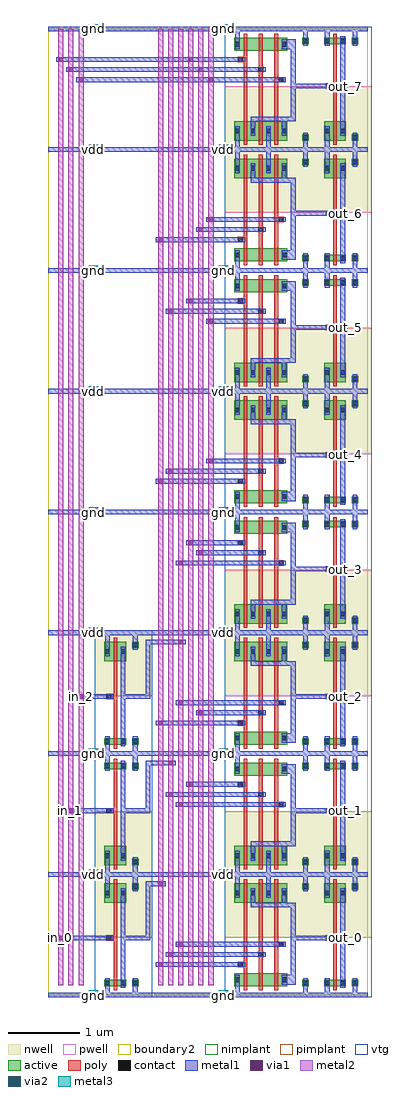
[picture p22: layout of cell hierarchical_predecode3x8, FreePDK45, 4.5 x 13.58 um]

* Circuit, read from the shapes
.subckt hierarchical_predecode3x8 gnd in_0 in_1 in_2 out_0 out_1 out_2 out_3 out_4 out_5 out_6 out_7 vdd
M1 and3_dec_3/A in_0 gnd gnd nfet w=0.09u l=0.05u
M2 and3_dec_3/B in_1 gnd gnd nfet w=0.09u l=0.05u
M3 and3_dec_3/C in_2 gnd gnd nfet w=0.09u l=0.05u
M4 and3_dec_3/pnand3_0/nmos_m1_w0_180_sm1_dactive_3/D and3_dec_3/A gnd gnd nfet w=0.18u l=0.05u
M5 and3_dec_4/pnand3_0/nmos_m1_w0_180_sm1_dactive_3/D in_0 gnd gnd nfet w=0.18u l=0.05u
M6 and3_dec_5/pnand3_0/nmos_m1_w0_180_sm1_dactive_3/D and3_dec_3/A gnd gnd nfet w=0.18u l=0.05u
M7 and3_dec_6/pnand3_0/nmos_m1_w0_180_sm1_dactive_3/D in_0 gnd gnd nfet w=0.18u l=0.05u
M8 and3_dec_7/pnand3_0/nmos_m1_w0_180_sm1_dactive_3/D and3_dec_3/A gnd gnd nfet w=0.18u l=0.05u
M9 and3_dec_8/pnand3_0/nmos_m1_w0_180_sm1_dactive_3/D in_0 gnd gnd nfet w=0.18u l=0.05u
M10 and3_dec_9/pnand3_0/nmos_m1_w0_180_sm1_dactive_3/D and3_dec_3/A gnd gnd nfet w=0.18u l=0.05u
M11 and3_dec_10/pnand3_0/nmos_m1_w0_180_sm1_dactive_3/D in_0 gnd gnd nfet w=0.18u l=0.05u
M12 and3_dec_3/pnand3_0/nmos_m1_w0_180_sactive_dactive_4/D and3_dec_3/B and3_dec_3/pnand3_0/nmos_m1_w0_180_sm1_dactive_3/D gnd nfet w=0.18u l=0.05u
M13 and3_dec_4/pnand3_0/nmos_m1_w0_180_sactive_dactive_4/D and3_dec_3/B and3_dec_4/pnand3_0/nmos_m1_w0_180_sm1_dactive_3/D gnd nfet w=0.18u l=0.05u
M14 and3_dec_5/pnand3_0/nmos_m1_w0_180_sactive_dactive_4/D in_1 and3_dec_5/pnand3_0/nmos_m1_w0_180_sm1_dactive_3/D gnd nfet w=0.18u l=0.05u
M15 and3_dec_6/pnand3_0/nmos_m1_w0_180_sactive_dactive_4/D in_1 and3_dec_6/pnand3_0/nmos_m1_w0_180_sm1_dactive_3/D gnd nfet w=0.18u l=0.05u
M16 and3_dec_7/pnand3_0/nmos_m1_w0_180_sactive_dactive_4/D and3_dec_3/B and3_dec_7/pnand3_0/nmos_m1_w0_180_sm1_dactive_3/D gnd nfet w=0.18u l=0.05u
M17 and3_dec_8/pnand3_0/nmos_m1_w0_180_sactive_dactive_4/D and3_dec_3/B and3_dec_8/pnand3_0/nmos_m1_w0_180_sm1_dactive_3/D gnd nfet w=0.18u l=0.05u
M18 and3_dec_9/pnand3_0/nmos_m1_w0_180_sactive_dactive_4/D in_1 and3_dec_9/pnand3_0/nmos_m1_w0_180_sm1_dactive_3/D gnd nfet w=0.18u l=0.05u
M19 and3_dec_10/pnand3_0/nmos_m1_w0_180_sactive_dactive_4/D in_1 and3_dec_10/pnand3_0/nmos_m1_w0_180_sm1_dactive_3/D gnd nfet w=0.18u l=0.05u
M20 and3_dec_3/pinv_1/A and3_dec_3/C and3_dec_3/pnand3_0/nmos_m1_w0_180_sactive_dactive_4/D gnd nfet w=0.18u l=0.05u
M21 and3_dec_4/pinv_1/A and3_dec_3/C and3_dec_4/pnand3_0/nmos_m1_w0_180_sactive_dactive_4/D gnd nfet w=0.18u l=0.05u
M22 and3_dec_5/pinv_1/A and3_dec_3/C and3_dec_5/pnand3_0/nmos_m1_w0_180_sactive_dactive_4/D gnd nfet w=0.18u l=0.05u
M23 and3_dec_6/pinv_1/A and3_dec_3/C and3_dec_6/pnand3_0/nmos_m1_w0_180_sactive_dactive_4/D gnd nfet w=0.18u l=0.05u
M24 and3_dec_7/pinv_1/A in_2 and3_dec_7/pnand3_0/nmos_m1_w0_180_sactive_dactive_4/D gnd nfet w=0.18u l=0.05u
M25 and3_dec_8/pinv_1/A in_2 and3_dec_8/pnand3_0/nmos_m1_w0_180_sactive_dactive_4/D gnd nfet w=0.18u l=0.05u
M26 and3_dec_9/pinv_1/A in_2 and3_dec_9/pnand3_0/nmos_m1_w0_180_sactive_dactive_4/D gnd nfet w=0.18u l=0.05u
M27 and3_dec_10/pinv_1/A in_2 and3_dec_10/pnand3_0/nmos_m1_w0_180_sactive_dactive_4/D gnd nfet w=0.18u l=0.05u
M28 out_0 and3_dec_3/pinv_1/A gnd gnd nfet w=0.09u l=0.05u
M29 out_1 and3_dec_4/pinv_1/A gnd gnd nfet w=0.09u l=0.05u
M30 out_2 and3_dec_5/pinv_1/A gnd gnd nfet w=0.09u l=0.05u
M31 out_3 and3_dec_6/pinv_1/A gnd gnd nfet w=0.09u l=0.05u
M32 out_4 and3_dec_7/pinv_1/A gnd gnd nfet w=0.09u l=0.05u
M33 out_5 and3_dec_8/pinv_1/A gnd gnd nfet w=0.09u l=0.05u
M34 out_6 and3_dec_9/pinv_1/A gnd gnd nfet w=0.09u l=0.05u
M35 out_7 and3_dec_10/pinv_1/A gnd gnd nfet w=0.09u l=0.05u
M36 and3_dec_3/A in_0 vdd vdd pfet w=0.27u l=0.05u
M37 and3_dec_3/B in_1 vdd vdd pfet w=0.27u l=0.05u
M38 and3_dec_3/C in_2 vdd vdd pfet w=0.27u l=0.05u
M39 and3_dec_3/pinv_1/A and3_dec_3/A vdd vdd pfet w=0.27u l=0.05u
M40 and3_dec_4/pinv_1/A in_0 vdd vdd pfet w=0.27u l=0.05u
M41 and3_dec_5/pinv_1/A and3_dec_3/A vdd vdd pfet w=0.27u l=0.05u
M42 and3_dec_6/pinv_1/A in_0 vdd vdd pfet w=0.27u l=0.05u
M43 and3_dec_7/pinv_1/A and3_dec_3/A vdd vdd pfet w=0.27u l=0.05u
M44 and3_dec_8/pinv_1/A in_0 vdd vdd pfet w=0.27u l=0.05u
M45 and3_dec_9/pinv_1/A and3_dec_3/A vdd vdd pfet w=0.27u l=0.05u
M46 and3_dec_10/pinv_1/A in_0 vdd vdd pfet w=0.27u l=0.05u
M47 vdd and3_dec_3/B and3_dec_3/pinv_1/A vdd pfet w=0.27u l=0.05u
M48 vdd and3_dec_3/B and3_dec_4/pinv_1/A vdd pfet w=0.27u l=0.05u
M49 vdd in_1 and3_dec_5/pinv_1/A vdd pfet w=0.27u l=0.05u
M50 vdd in_1 and3_dec_6/pinv_1/A vdd pfet w=0.27u l=0.05u
M51 vdd and3_dec_3/B and3_dec_7/pinv_1/A vdd pfet w=0.27u l=0.05u
M52 vdd and3_dec_3/B and3_dec_8/pinv_1/A vdd pfet w=0.27u l=0.05u
M53 vdd in_1 and3_dec_9/pinv_1/A vdd pfet w=0.27u l=0.05u
M54 vdd in_1 and3_dec_10/pinv_1/A vdd pfet w=0.27u l=0.05u
M55 and3_dec_3/pinv_1/A and3_dec_3/C vdd vdd pfet w=0.27u l=0.05u
M56 and3_dec_4/pinv_1/A and3_dec_3/C vdd vdd pfet w=0.27u l=0.05u
M57 and3_dec_5/pinv_1/A and3_dec_3/C vdd vdd pfet w=0.27u l=0.05u
M58 and3_dec_6/pinv_1/A and3_dec_3/C vdd vdd pfet w=0.27u l=0.05u
M59 and3_dec_7/pinv_1/A in_2 vdd vdd pfet w=0.27u l=0.05u
M60 and3_dec_8/pinv_1/A in_2 vdd vdd pfet w=0.27u l=0.05u
M61 and3_dec_9/pinv_1/A in_2 vdd vdd pfet w=0.27u l=0.05u
M62 and3_dec_10/pinv_1/A in_2 vdd vdd pfet w=0.27u l=0.05u
M63 out_0 and3_dec_3/pinv_1/A vdd vdd pfet w=0.27u l=0.05u
M64 out_1 and3_dec_4/pinv_1/A vdd vdd pfet w=0.27u l=0.05u
M65 out_2 and3_dec_5/pinv_1/A vdd vdd pfet w=0.27u l=0.05u
M66 out_3 and3_dec_6/pinv_1/A vdd vdd pfet w=0.27u l=0.05u
M67 out_4 and3_dec_7/pinv_1/A vdd vdd pfet w=0.27u l=0.05u
M68 out_5 and3_dec_8/pinv_1/A vdd vdd pfet w=0.27u l=0.05u
M69 out_6 and3_dec_9/pinv_1/A vdd vdd pfet w=0.27u l=0.05u
M70 out_7 and3_dec_10/pinv_1/A vdd vdd pfet w=0.27u l=0.05u
.ends

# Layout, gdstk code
import gdstk
lib = gdstk.Library(unit=1e-6, precision=5e-10)
def R(c, l, rs):  # rectangles x0, y0, x1, y1
    for r in rs: c.add(gdstk.rectangle(r[:2], r[2:], *l))
def A(c, l, x, y, w, h, nx, ny, dx, dy):  # array of equal rectangles
    R(c, l, [(x+i*dx, y+j*dy, x+i*dx+w, y+j*dy+h) for i in range(nx) for j in range(ny)])
active = (1, 0)
pwell = (2, 0)
nwell = (3, 0)
nimplant = (4, 0)
pimplant = (5, 0)
vtg = (6, 0)
poly = (9, 0)
contact = (10, 0)
metal1 = (11, 0)
via1 = (12, 0)
metal2 = (13, 0)
via2 = (14, 0)
metal3 = (15, 0)
boundary2 = (239, 0)

contact_10 = lib.new_cell('contact_10')
R(contact_10, active, [(0,0.0225,0.09,0.1125)])
R(contact_10, nwell, [(-0.055,-0.0325,0.145,0.1675)])
R(contact_10, pimplant, [(0,0.0225,0.09,0.1125)])
R(contact_10, contact, [(0.0125,0.035,0.0775,0.1)])
R(contact_10, metal1, [(0.0125,0,0.0775,0.135)])
R(contact_10, boundary2, [(-0.055,-0.0325,0.145,0.1675)])

pmos_m1_w0_270_sm1_dm1_d = lib.new_cell('pmos_m1_w0_270_sm1_dm1_da_p')
R(pmos_m1_w0_270_sm1_dm1_d, active, [(0,0,0.305,0.27)])
R(pmos_m1_w0_270_sm1_dm1_d, nwell, [(-0.08,-0.08,0.385,0.35)])
R(pmos_m1_w0_270_sm1_dm1_d, pimplant, [(0,0,0.305,0.27)])
R(pmos_m1_w0_270_sm1_dm1_d, vtg, [(-0.08,-0.08,0.385,0.35)])
R(pmos_m1_w0_270_sm1_dm1_d, poly, [(0.1275,-0.055,0.1775,0.325), (0.1275,-0.055,0.1775,0.325)])
R(pmos_m1_w0_270_sm1_dm1_d, metal1, [(0.0125,0.0675,0.0775,0.2025), (0.2275,0.0675,0.2925,0.2025)])
R(pmos_m1_w0_270_sm1_dm1_d, boundary2, [(-0.08,-0.08,0.385,0.35)])
pmos_m1_w0_270_sm1_dm1_d.add(gdstk.Reference(contact_10, (0,0.0675)))
pmos_m1_w0_270_sm1_dm1_d.add(gdstk.Reference(contact_10, (0.215,0.0675)))
pmos_m1_w0_270_sm1_dm1_d.add(gdstk.Label('G', (0.1525,0.135), layer=9, texttype=0))
pmos_m1_w0_270_sm1_dm1_d.add(gdstk.Label('S', (0.045,0.135), layer=11, texttype=0))
pmos_m1_w0_270_sm1_dm1_d.add(gdstk.Label('D', (0.26,0.135), layer=11, texttype=0))

contact_9 = lib.new_cell('contact_9')
R(contact_9, active, [(0,0.0225,0.09,0.1125)])
R(contact_9, pwell, [(-0.055,-0.0325,0.145,0.1675)])
R(contact_9, nimplant, [(0,0.0225,0.09,0.1125)])
R(contact_9, contact, [(0.0125,0.035,0.0775,0.1)])
R(contact_9, metal1, [(0.0125,0,0.0775,0.135)])
R(contact_9, boundary2, [(-0.055,-0.0325,0.145,0.1675)])

nmos_m1_w0_090_sm1_dm1_d = lib.new_cell('nmos_m1_w0_090_sm1_dm1_da_p')
R(nmos_m1_w0_090_sm1_dm1_d, active, [(0,0,0.305,0.09)])
R(nmos_m1_w0_090_sm1_dm1_d, pwell, [(-0.08,-0.08,0.385,0.17)])
R(nmos_m1_w0_090_sm1_dm1_d, nimplant, [(0,0,0.305,0.09)])
R(nmos_m1_w0_090_sm1_dm1_d, vtg, [(-0.08,-0.08,0.385,0.17)])
R(nmos_m1_w0_090_sm1_dm1_d, poly, [(0.1275,-0.055,0.1775,0.145), (0.1275,-0.055,0.1775,0.145)])
R(nmos_m1_w0_090_sm1_dm1_d, metal1, [(0.0125,-0.0225,0.0775,0.1125), (0.2275,-0.0225,0.2925,0.1125)])
R(nmos_m1_w0_090_sm1_dm1_d, boundary2, [(-0.08,-0.08,0.385,0.17)])
nmos_m1_w0_090_sm1_dm1_d.add(gdstk.Reference(contact_9, (0,-0.0225)))
nmos_m1_w0_090_sm1_dm1_d.add(gdstk.Reference(contact_9, (0.215,-0.0225)))
nmos_m1_w0_090_sm1_dm1_d.add(gdstk.Label('G', (0.1525,0.045), layer=9, texttype=0))
nmos_m1_w0_090_sm1_dm1_d.add(gdstk.Label('S', (0.045,0.045), layer=11, texttype=0))
nmos_m1_w0_090_sm1_dm1_d.add(gdstk.Label('D', (0.26,0.045), layer=11, texttype=0))

contact_11 = lib.new_cell('contact_11')
R(contact_11, active, [(0,0.0225,0.09,0.1125)])
R(contact_11, nwell, [(-0.055,-0.0325,0.145,0.1675)])
R(contact_11, nimplant, [(0,0.0225,0.09,0.1125)])
R(contact_11, contact, [(0.0125,0.035,0.0775,0.1)])
R(contact_11, metal1, [(0.0125,0,0.0775,0.135)])
R(contact_11, boundary2, [(-0.055,-0.0325,0.145,0.1675)])

contact_12 = lib.new_cell('contact_12')
R(contact_12, active, [(0,0.0225,0.09,0.1125)])
R(contact_12, pwell, [(-0.055,-0.0325,0.145,0.1675)])
R(contact_12, pimplant, [(0,0.0225,0.09,0.1125)])
R(contact_12, contact, [(0.0125,0.035,0.0775,0.1)])
R(contact_12, metal1, [(0.0125,0,0.0775,0.135)])
R(contact_12, boundary2, [(-0.055,-0.0325,0.145,0.1675)])

contact_13 = lib.new_cell('contact_13')
R(contact_13, poly, [(0.03,0,0.105,0.075)])
R(contact_13, contact, [(0.035,0.005,0.1,0.07)])
R(contact_13, metal1, [(0,0.005,0.135,0.07)])
R(contact_13, boundary2, [(0,0,0.135,0.075)])

pinv = lib.new_cell('pinv')
R(pinv, pwell, [(-0.055,-0.0325,0.7425,0.8075)])
R(pinv, nwell, [(-0.055,0.8075,0.7425,1.715)])
R(pinv, vtg, [(-0.055,-0.0325,0.7425,0.8075), (-0.055,0.8075,0.7425,1.715)])
R(pinv, poly, [(0.2075,0.27,0.2575,1.23), (0.14,0.7575,0.2075,0.8325)])
R(pinv, metal1, [(0,-0.0325,0.6875,0.0325), (0.0925,-0.0325,0.1575,0.1025), (0.4775,0,0.5425,0.17), (0.3075,0.1025,0.3725,1.4875), (0.0725,0.7625,0.2075,0.8275), (0.34,0.7625,0.405,0.8275), (0.0925,1.3525,0.1575,1.7125), (0.4775,1.51,0.5425,1.68), (0,1.6475,0.6875,1.7125)])
R(pinv, boundary2, [(0,0,0.6875,1.68), (0,0,0.6875,1.68)])
pinv.add(gdstk.Reference(pmos_m1_w0_270_sm1_dm1_d, (0.08,1.285)))
pinv.add(gdstk.Reference(nmos_m1_w0_090_sm1_dm1_d, (0.08,0.125)))
pinv.add(gdstk.Reference(contact_11, (0.465,1.4425)))
pinv.add(gdstk.Reference(contact_12, (0.465,0.1025)))
pinv.add(gdstk.Reference(contact_13, (0.0725,0.7575)))
pinv.add(gdstk.Label('A', (0.14,0.795), layer=11, texttype=0))
pinv.add(gdstk.Label('Z', (0.3725,0.795), layer=11, texttype=0))
pinv.add(gdstk.Label('gnd', (0.344,0), layer=11, texttype=0))
pinv.add(gdstk.Label('vdd', (0.344,1.68), layer=11, texttype=0))

pmos_m1_w0_270_sm1_dm1 = lib.new_cell('pmos_m1_w0_270_sm1_dm1')
R(pmos_m1_w0_270_sm1_dm1, active, [(0,0,0.305,0.27)])
R(pmos_m1_w0_270_sm1_dm1, nwell, [(-0.08,-0.08,0.385,0.35)])
R(pmos_m1_w0_270_sm1_dm1, pimplant, [(0,0,0.305,0.27)])
R(pmos_m1_w0_270_sm1_dm1, vtg, [(-0.08,-0.08,0.385,0.35)])
R(pmos_m1_w0_270_sm1_dm1, poly, [(0.1275,-0.055,0.1775,0.325), (0.1275,-0.055,0.1775,0.325)])
R(pmos_m1_w0_270_sm1_dm1, metal1, [(0.0125,0.0675,0.0775,0.2025), (0.2275,0.0675,0.2925,0.2025)])
R(pmos_m1_w0_270_sm1_dm1, boundary2, [(-0.08,-0.08,0.385,0.35)])
pmos_m1_w0_270_sm1_dm1.add(gdstk.Reference(contact_10, (0,0.0675)))
pmos_m1_w0_270_sm1_dm1.add(gdstk.Reference(contact_10, (0.215,0.0675)))
pmos_m1_w0_270_sm1_dm1.add(gdstk.Label('G', (0.1525,0.135), layer=9, texttype=0))
pmos_m1_w0_270_sm1_dm1.add(gdstk.Label('S', (0.045,0.135), layer=11, texttype=0))
pmos_m1_w0_270_sm1_dm1.add(gdstk.Label('D', (0.26,0.135), layer=11, texttype=0))

nmos_m1_w0_180_sm1_dacti = lib.new_cell('nmos_m1_w0_180_sm1_dactive')
R(nmos_m1_w0_180_sm1_dacti, active, [(0,0,0.305,0.18), (0.215,0.045,0.305,0.135)])
R(nmos_m1_w0_180_sm1_dacti, pwell, [(-0.08,-0.08,0.385,0.26)])
R(nmos_m1_w0_180_sm1_dacti, nimplant, [(0,0,0.305,0.18)])
R(nmos_m1_w0_180_sm1_dacti, vtg, [(-0.08,-0.08,0.385,0.26)])
R(nmos_m1_w0_180_sm1_dacti, poly, [(0.1275,-0.055,0.1775,0.235), (0.1275,-0.055,0.1775,0.235)])
R(nmos_m1_w0_180_sm1_dacti, metal1, [(0.0125,0.0225,0.0775,0.1575)])
R(nmos_m1_w0_180_sm1_dacti, boundary2, [(-0.08,-0.08,0.385,0.26)])
nmos_m1_w0_180_sm1_dacti.add(gdstk.Reference(contact_9, (0,0.0225)))
nmos_m1_w0_180_sm1_dacti.add(gdstk.Label('G', (0.1525,0.09), layer=9, texttype=0))
nmos_m1_w0_180_sm1_dacti.add(gdstk.Label('S', (0.045,0.09), layer=11, texttype=0))
nmos_m1_w0_180_sm1_dacti.add(gdstk.Label('D', (0.26,0.09), layer=1, texttype=0))

nmos_m1_w0_180_sactive_d = lib.new_cell('nmos_m1_w0_180_sactive_dactive')
R(nmos_m1_w0_180_sactive_d, active, [(0,0,0.305,0.18), (0,0.045,0.09,0.135), (0.215,0.045,0.305,0.135)])
R(nmos_m1_w0_180_sactive_d, pwell, [(-0.08,-0.08,0.385,0.26)])
R(nmos_m1_w0_180_sactive_d, nimplant, [(0,0,0.305,0.18)])
R(nmos_m1_w0_180_sactive_d, vtg, [(-0.08,-0.08,0.385,0.26)])
R(nmos_m1_w0_180_sactive_d, poly, [(0.1275,-0.055,0.1775,0.235), (0.1275,-0.055,0.1775,0.235)])
R(nmos_m1_w0_180_sactive_d, boundary2, [(-0.08,-0.08,0.385,0.26)])
nmos_m1_w0_180_sactive_d.add(gdstk.Label('G', (0.1525,0.09), layer=9, texttype=0))
nmos_m1_w0_180_sactive_d.add(gdstk.Label('S', (0.045,0.09), layer=1, texttype=0))
nmos_m1_w0_180_sactive_d.add(gdstk.Label('D', (0.26,0.09), layer=1, texttype=0))

c_nmos_m1_w0_180_sactive_d = lib.new_cell('nmos_m1_w0_180_sactive_dm1')
R(c_nmos_m1_w0_180_sactive_d, active, [(0,0,0.305,0.18), (0,0.045,0.09,0.135)])
R(c_nmos_m1_w0_180_sactive_d, pwell, [(-0.08,-0.08,0.385,0.26)])
R(c_nmos_m1_w0_180_sactive_d, nimplant, [(0,0,0.305,0.18)])
R(c_nmos_m1_w0_180_sactive_d, vtg, [(-0.08,-0.08,0.385,0.26)])
R(c_nmos_m1_w0_180_sactive_d, poly, [(0.1275,-0.055,0.1775,0.235), (0.1275,-0.055,0.1775,0.235)])
R(c_nmos_m1_w0_180_sactive_d, metal1, [(0.2275,0.0225,0.2925,0.1575)])
R(c_nmos_m1_w0_180_sactive_d, boundary2, [(-0.08,-0.08,0.385,0.26)])
c_nmos_m1_w0_180_sactive_d.add(gdstk.Reference(contact_9, (0.215,0.0225)))
c_nmos_m1_w0_180_sactive_d.add(gdstk.Label('G', (0.1525,0.09), layer=9, texttype=0))
c_nmos_m1_w0_180_sactive_d.add(gdstk.Label('S', (0.045,0.09), layer=1, texttype=0))
c_nmos_m1_w0_180_sactive_d.add(gdstk.Label('D', (0.26,0.09), layer=11, texttype=0))

pnand3 = lib.new_cell('pnand3')
R(pnand3, pwell, [(-0.055,-0.0325,1.3025,0.8075)])
R(pnand3, nwell, [(-0.055,0.8075,1.3025,1.715)])
R(pnand3, vtg, [(-0.055,-0.0325,1.3025,0.8075), (-0.055,0.8075,1.3025,1.715)])
A(pnand3, poly, 0.2075, 0.36, 0.05, 0.87, 3, 1, 0.215, 0)
R(pnand3, poly, [(0.165,0.39,0.2075,0.465), (0.4225,0.53,0.4475,0.605), (0.6375,0.67,0.73,0.745)])
R(pnand3, metal1, [(0,-0.0325,1.2475,0.0325), (0.0925,-0.0325,0.1575,0.1475), (1.0375,0,1.1025,0.17), (0.77,0.1475,0.9,0.2825), (0.8675,0.1475,0.9325,1.255), (0.0975,0.395,0.2325,0.46), (0.38,0.535,0.515,0.6), (0.6625,0.675,0.7975,0.74), (0.3075,1.2225,0.3725,1.2875), (0.34,1.2225,0.9,1.2875), (0.7375,1.2225,0.8025,1.2875), (0.77,1.2225,0.9,1.2875), (0.8675,1.2225,0.9325,1.2875), (0.3075,1.255,0.3725,1.42), (0.7375,1.255,0.8025,1.42), (0.0925,1.3525,0.1575,1.7125), (0.5225,1.3525,0.5875,1.7125), (1.0375,1.51,1.1025,1.68), (0,1.6475,1.2475,1.7125)])
R(pnand3, boundary2, [(0,0,1.2475,1.68), (0,0,1.2475,1.68)])
pnand3.add(gdstk.Reference(pmos_m1_w0_270_sm1_dm1, (0.08,1.285)))
pnand3.add(gdstk.Reference(pmos_m1_w0_270_sm1_dm1, (0.295,1.285)))
pnand3.add(gdstk.Reference(pmos_m1_w0_270_sm1_dm1, (0.51,1.285)))
pnand3.add(gdstk.Reference(nmos_m1_w0_180_sm1_dacti, (0.08,0.125)))
pnand3.add(gdstk.Reference(nmos_m1_w0_180_sactive_d, (0.295,0.125)))
pnand3.add(gdstk.Reference(c_nmos_m1_w0_180_sactive_d, (0.51,0.125)))
pnand3.add(gdstk.Reference(contact_11, (1.025,1.4425)))
pnand3.add(gdstk.Reference(contact_12, (1.025,0.1025)))
pnand3.add(gdstk.Reference(contact_13, (0.0975,0.39)))
pnand3.add(gdstk.Reference(contact_13, (0.38,0.53)))
pnand3.add(gdstk.Reference(contact_13, (0.6625,0.67)))
pnand3.add(gdstk.Label('A', (0.165,0.4275), layer=11, texttype=0))
pnand3.add(gdstk.Label('B', (0.4475,0.5675), layer=11, texttype=0))
pnand3.add(gdstk.Label('C', (0.73,0.7075), layer=11, texttype=0))
pnand3.add(gdstk.Label('Z', (0.9,1.255), layer=11, texttype=0))
pnand3.add(gdstk.Label('gnd', (0.624,0), layer=11, texttype=0))
pnand3.add(gdstk.Label('vdd', (0.624,1.68), layer=11, texttype=0))

and3_dec = lib.new_cell('and3_dec')
R(and3_dec, metal1, [(0,-0.0325,1.935,0.0325), (0.0975,0.395,0.2325,0.46), (0.38,0.535,0.515,0.6), (0.6625,0.675,0.7975,0.74), (0.8675,0.7625,0.9325,0.8275), (0.9,0.7625,1.3875,0.8275), (1.5875,0.7625,1.6525,0.8275), (0.8675,0.795,0.9325,1.255), (0,1.6475,1.935,1.7125)])
R(and3_dec, boundary2, [(0,0,1.935,1.68)])
and3_dec.add(gdstk.Reference(pnand3, (0,0)))
and3_dec.add(gdstk.Reference(pinv, (1.2475,0)))
and3_dec.add(gdstk.Label('Z', (1.62,0.795), layer=11, texttype=0))
and3_dec.add(gdstk.Label('A', (0.165,0.4275), layer=11, texttype=0))
and3_dec.add(gdstk.Label('B', (0.4475,0.5675), layer=11, texttype=0))
and3_dec.add(gdstk.Label('C', (0.73,0.7075), layer=11, texttype=0))
and3_dec.add(gdstk.Label('gnd', (0.9675,0), layer=11, texttype=0))
and3_dec.add(gdstk.Label('vdd', (0.9675,1.68), layer=11, texttype=0))

contact_14 = lib.new_cell('contact_14')
R(contact_14, metal1, [(0,0.035,0.135,0.1)])
R(contact_14, via1, [(0.035,0.035,0.1,0.1)])
R(contact_14, metal2, [(0.0325,0,0.1025,0.135)])
R(contact_14, boundary2, [(0,0,0.135,0.135)])

contact_16 = lib.new_cell('contact_16')
R(contact_16, metal1, [(0,0.035,0.135,0.1)])
R(contact_16, via1, [(0.035,0.035,0.1,0.1)])
R(contact_16, metal2, [(0.0325,0,0.1025,0.135)])
R(contact_16, boundary2, [(0,0,0.135,0.135)])

contact_17 = lib.new_cell('contact_17')
R(contact_17, metal2, [(0.0325,0,0.1025,0.135)])
R(contact_17, via2, [(0.035,0.035,0.1,0.1)])
R(contact_17, metal3, [(0,0.0325,0.135,0.1025)])
R(contact_17, boundary2, [(0,0,0.135,0.135)])

hierarchical_predecode3x = lib.new_cell('hierarchical_predecode3x8')
A(hierarchical_predecode3x, metal1, 1.5625, 0.395, 1.11, 0.065, 1, 4, 0, 3.36)
A(hierarchical_predecode3x, metal1, 1.9825, 2.9, 0.69, 0.065, 1, 4, 0, 3.36)
R(hierarchical_predecode3x, metal1, [(0,-0.0325,4.4425,0.0325), (2.64,0.395,2.705,0.46), (1.7025,0.535,2.955,0.6), (2.9225,0.535,2.9875,0.6), (1.8425,0.675,3.2375,0.74), (3.205,0.675,3.27,0.74), (0.175,0.7625,0.84,0.8275), (0.8075,0.7625,0.8725,0.8275), (1.0725,0.7625,1.1375,0.8275), (1.105,0.7625,1.3875,0.8275), (1.355,0.7625,1.42,0.8275), (4.095,0.7625,4.16,0.8275), (1.355,0.795,1.42,1.55), (1.355,1.5175,1.42,1.5825), (1.3875,1.5175,1.5625,1.5825), (0,1.6475,4.4425,1.7125), (0,1.6475,4.4425,1.7125), (0.315,2.5325,0.84,2.5975), (0.8075,2.5325,0.8725,2.5975), (1.0725,2.5325,1.1375,2.5975), (1.105,2.5325,1.3875,2.5975), (1.355,2.5325,1.42,2.5975), (4.095,2.5325,4.16,2.5975), (1.355,2.565,1.42,3.23), (1.8425,2.62,3.2375,2.685), (3.205,2.62,3.27,2.685), (1.7025,2.76,2.955,2.825), (2.9225,2.76,2.9875,2.825), (2.64,2.9,2.705,2.965), (1.355,3.1975,1.42,3.2625), (1.3875,3.1975,1.7025,3.2625), (0,3.3275,4.4425,3.3925), (0,3.3275,4.4425,3.3925), (2.64,3.755,2.705,3.82), (2.1225,3.895,2.955,3.96), (2.9225,3.895,2.9875,3.96), (1.8425,4.035,3.2375,4.1), (3.205,4.035,3.27,4.1), (0.455,4.1225,0.84,4.1875), (0.8075,4.1225,0.8725,4.1875), (1.0725,4.1225,1.1375,4.1875), (1.105,4.1225,1.3875,4.1875), (1.355,4.1225,1.42,4.1875), (4.095,4.1225,4.16,4.1875), (1.355,4.155,1.42,4.91), (1.355,4.8775,1.42,4.9425), (1.3875,4.8775,1.8425,4.9425), (0,5.0075,4.4425,5.0725), (0,5.0075,4.4425,5.0725), (4.095,5.8925,4.16,5.9575), (1.8425,5.98,3.2375,6.045), (3.205,5.98,3.27,6.045), (2.1225,6.12,2.955,6.185), (2.9225,6.12,2.9875,6.185), (2.64,6.26,2.705,6.325), (0,6.6875,4.4425,6.7525), (0,6.6875,4.4425,6.7525), (2.64,7.115,2.705,7.18), (1.7025,7.255,2.955,7.32), (2.9225,7.255,2.9875,7.32), (2.2625,7.395,3.2375,7.46), (3.205,7.395,3.27,7.46), (4.095,7.4825,4.16,7.5475), (0,8.3675,4.4425,8.4325), (0,8.3675,4.4425,8.4325), (4.095,9.2525,4.16,9.3175), (2.2625,9.34,3.2375,9.405), (3.205,9.34,3.27,9.405), (1.7025,9.48,2.955,9.545), (2.9225,9.48,2.9875,9.545), (2.64,9.62,2.705,9.685), (0,10.0475,4.4425,10.1125), (0,10.0475,4.4425,10.1125), (2.64,10.475,2.705,10.54), (2.1225,10.615,2.955,10.68), (2.9225,10.615,2.9875,10.68), (2.2625,10.755,3.2375,10.82), (3.205,10.755,3.27,10.82), (4.095,10.8425,4.16,10.9075), (0,11.7275,4.4425,11.7925), (0,11.7275,4.4425,11.7925), (4.095,12.6125,4.16,12.6775), (0.455,12.7,2.2625,12.765), (2.2625,12.7,3.2375,12.765), (3.205,12.7,3.27,12.765), (0.315,12.84,2.1225,12.905), (2.1225,12.84,2.955,12.905), (2.9225,12.84,2.9875,12.905), (0.175,12.98,1.9825,13.045), (2.64,12.98,2.705,13.045), (0,13.4075,4.4425,13.4725)])
A(hierarchical_predecode3x, metal2, 0.14, 0.14, 0.07, 13.3, 3, 1, 0.14, 0)
A(hierarchical_predecode3x, metal2, 1.5275, 0.14, 0.07, 13.3, 6, 1, 0.14, 0)
R(hierarchical_predecode3x, metal2, [(0.14,0.7275,0.21,0.8625), (0.28,2.4975,0.35,2.6325), (0.42,4.0875,0.49,4.2225)])
A(hierarchical_predecode3x, metal3, 0.5625, 1.6125, 0.135, 0.135, 1, 3, 0, 1.68)
A(hierarchical_predecode3x, metal3, 2.37, 1.6125, 0.135, 0.135, 1, 3, 0, 1.68)
A(hierarchical_predecode3x, metal3, 0.5625, 4.9725, 0.135, 0.135, 1, 3, 0, 1.68)
A(hierarchical_predecode3x, metal3, 2.37, 4.9725, 0.135, 0.135, 1, 3, 0, 1.68)
A(hierarchical_predecode3x, metal3, 0.5625, 8.3325, 0.135, 0.135, 1, 4, 0, 1.68)
A(hierarchical_predecode3x, metal3, 2.37, 8.3325, 0.135, 0.135, 1, 4, 0, 1.68)
R(hierarchical_predecode3x, metal3, [(0.5625,-0.0675,0.6975,0.0675), (2.37,-0.0675,2.505,0.0675), (0.5625,1.6125,0.6975,1.7475), (2.37,1.6125,2.505,1.7475)])
R(hierarchical_predecode3x, boundary2, [(0,0,4.4425,13.44)])
hierarchical_predecode3x.add(gdstk.Reference(pinv, (0.7,0)))
hierarchical_predecode3x.add(gdstk.Reference(pinv, (0.7,3.36), x_reflection=True))
hierarchical_predecode3x.add(gdstk.Reference(pinv, (0.7,3.36)))
hierarchical_predecode3x.add(gdstk.Reference(and3_dec, (2.5075,0)))
hierarchical_predecode3x.add(gdstk.Reference(and3_dec, (2.5075,3.36), x_reflection=True))
hierarchical_predecode3x.add(gdstk.Reference(and3_dec, (2.5075,3.36)))
hierarchical_predecode3x.add(gdstk.Reference(and3_dec, (2.5075,6.72), x_reflection=True))
hierarchical_predecode3x.add(gdstk.Reference(and3_dec, (2.5075,6.72)))
hierarchical_predecode3x.add(gdstk.Reference(and3_dec, (2.5075,10.08), x_reflection=True))
hierarchical_predecode3x.add(gdstk.Reference(and3_dec, (2.5075,10.08)))
hierarchical_predecode3x.add(gdstk.Reference(and3_dec, (2.5075,13.44), x_reflection=True))
hierarchical_predecode3x.add(gdstk.Reference(contact_14, (0.1075,0.7275)))
hierarchical_predecode3x.add(gdstk.Reference(contact_14, (0.2475,2.4975)))
hierarchical_predecode3x.add(gdstk.Reference(contact_14, (0.3875,4.0875)))
hierarchical_predecode3x.add(gdstk.Reference(contact_14, (1.495,0.36)))
hierarchical_predecode3x.add(gdstk.Reference(contact_14, (1.635,0.5)))
hierarchical_predecode3x.add(gdstk.Reference(contact_14, (1.775,0.64)))
hierarchical_predecode3x.add(gdstk.Reference(contact_14, (1.915,2.865)))
hierarchical_predecode3x.add(gdstk.Reference(contact_14, (1.635,2.725)))
hierarchical_predecode3x.add(gdstk.Reference(contact_14, (1.775,2.585)))
hierarchical_predecode3x.add(gdstk.Reference(contact_14, (1.495,3.72)))
hierarchical_predecode3x.add(gdstk.Reference(contact_14, (2.055,3.86)))
hierarchical_predecode3x.add(gdstk.Reference(contact_14, (1.775,4)))
hierarchical_predecode3x.add(gdstk.Reference(contact_14, (1.915,6.225)))
hierarchical_predecode3x.add(gdstk.Reference(contact_14, (2.055,6.085)))
hierarchical_predecode3x.add(gdstk.Reference(contact_14, (1.775,5.945)))
hierarchical_predecode3x.add(gdstk.Reference(contact_14, (1.495,7.08)))
hierarchical_predecode3x.add(gdstk.Reference(contact_14, (1.635,7.22)))
hierarchical_predecode3x.add(gdstk.Reference(contact_14, (2.195,7.36)))
hierarchical_predecode3x.add(gdstk.Reference(contact_14, (1.915,9.585)))
hierarchical_predecode3x.add(gdstk.Reference(contact_14, (1.635,9.445)))
hierarchical_predecode3x.add(gdstk.Reference(contact_14, (2.195,9.305)))
hierarchical_predecode3x.add(gdstk.Reference(contact_14, (1.495,10.44)))
hierarchical_predecode3x.add(gdstk.Reference(contact_14, (2.055,10.58)))
hierarchical_predecode3x.add(gdstk.Reference(contact_14, (2.195,10.72)))
hierarchical_predecode3x.add(gdstk.Reference(contact_14, (1.915,12.945)))
hierarchical_predecode3x.add(gdstk.Reference(contact_14, (2.055,12.805)))
hierarchical_predecode3x.add(gdstk.Reference(contact_14, (2.195,12.665)))
hierarchical_predecode3x.add(gdstk.Reference(contact_14, (1.495,1.4825)))
hierarchical_predecode3x.add(gdstk.Reference(contact_14, (1.635,3.1625)))
hierarchical_predecode3x.add(gdstk.Reference(contact_14, (1.775,4.8425)))
hierarchical_predecode3x.add(gdstk.Reference(contact_16, (0.1075,12.945)))
hierarchical_predecode3x.add(gdstk.Reference(contact_16, (1.915,12.945)))
hierarchical_predecode3x.add(gdstk.Reference(contact_16, (0.2475,12.805)))
hierarchical_predecode3x.add(gdstk.Reference(contact_16, (2.055,12.805)))
hierarchical_predecode3x.add(gdstk.Reference(contact_16, (0.3875,12.665)))
hierarchical_predecode3x.add(gdstk.Reference(contact_16, (2.195,12.665)))
hierarchical_predecode3x.add(gdstk.Reference(contact_16, (0.5625,1.6125)))
hierarchical_predecode3x.add(gdstk.Reference(contact_17, (0.5625,1.6125)))
hierarchical_predecode3x.add(gdstk.Reference(contact_16, (2.37,1.6125)))
hierarchical_predecode3x.add(gdstk.Reference(contact_17, (2.37,1.6125)))
hierarchical_predecode3x.add(gdstk.Reference(contact_16, (0.5625,-0.0675)))
hierarchical_predecode3x.add(gdstk.Reference(contact_17, (0.5625,-0.0675)))
hierarchical_predecode3x.add(gdstk.Reference(contact_16, (2.37,-0.0675)))
hierarchical_predecode3x.add(gdstk.Reference(contact_17, (2.37,-0.0675)))
hierarchical_predecode3x.add(gdstk.Reference(contact_16, (0.5625,1.6125)))
hierarchical_predecode3x.add(gdstk.Reference(contact_17, (0.5625,1.6125)))
hierarchical_predecode3x.add(gdstk.Reference(contact_16, (2.37,1.6125)))
hierarchical_predecode3x.add(gdstk.Reference(contact_17, (2.37,1.6125)))
hierarchical_predecode3x.add(gdstk.Reference(contact_16, (0.5625,3.2925)))
hierarchical_predecode3x.add(gdstk.Reference(contact_17, (0.5625,3.2925)))
hierarchical_predecode3x.add(gdstk.Reference(contact_16, (2.37,3.2925)))
hierarchical_predecode3x.add(gdstk.Reference(contact_17, (2.37,3.2925)))
hierarchical_predecode3x.add(gdstk.Reference(contact_16, (0.5625,4.9725)))
hierarchical_predecode3x.add(gdstk.Reference(contact_17, (0.5625,4.9725)))
hierarchical_predecode3x.add(gdstk.Reference(contact_16, (2.37,4.9725)))
hierarchical_predecode3x.add(gdstk.Reference(contact_17, (2.37,4.9725)))
hierarchical_predecode3x.add(gdstk.Reference(contact_16, (0.5625,3.2925)))
hierarchical_predecode3x.add(gdstk.Reference(contact_17, (0.5625,3.2925)))
hierarchical_predecode3x.add(gdstk.Reference(contact_16, (2.37,3.2925)))
hierarchical_predecode3x.add(gdstk.Reference(contact_17, (2.37,3.2925)))
hierarchical_predecode3x.add(gdstk.Reference(contact_16, (0.5625,4.9725)))
hierarchical_predecode3x.add(gdstk.Reference(contact_17, (0.5625,4.9725)))
hierarchical_predecode3x.add(gdstk.Reference(contact_16, (2.37,4.9725)))
hierarchical_predecode3x.add(gdstk.Reference(contact_17, (2.37,4.9725)))
hierarchical_predecode3x.add(gdstk.Reference(contact_16, (0.5625,6.6525)))
hierarchical_predecode3x.add(gdstk.Reference(contact_17, (0.5625,6.6525)))
hierarchical_predecode3x.add(gdstk.Reference(contact_16, (2.37,6.6525)))
hierarchical_predecode3x.add(gdstk.Reference(contact_17, (2.37,6.6525)))
hierarchical_predecode3x.add(gdstk.Reference(contact_16, (0.5625,8.3325)))
hierarchical_predecode3x.add(gdstk.Reference(contact_17, (0.5625,8.3325)))
hierarchical_predecode3x.add(gdstk.Reference(contact_16, (2.37,8.3325)))
hierarchical_predecode3x.add(gdstk.Reference(contact_17, (2.37,8.3325)))
hierarchical_predecode3x.add(gdstk.Reference(contact_16, (0.5625,6.6525)))
hierarchical_predecode3x.add(gdstk.Reference(contact_17, (0.5625,6.6525)))
hierarchical_predecode3x.add(gdstk.Reference(contact_16, (2.37,6.6525)))
hierarchical_predecode3x.add(gdstk.Reference(contact_17, (2.37,6.6525)))
hierarchical_predecode3x.add(gdstk.Reference(contact_16, (0.5625,8.3325)))
hierarchical_predecode3x.add(gdstk.Reference(contact_17, (0.5625,8.3325)))
hierarchical_predecode3x.add(gdstk.Reference(contact_16, (2.37,8.3325)))
hierarchical_predecode3x.add(gdstk.Reference(contact_17, (2.37,8.3325)))
hierarchical_predecode3x.add(gdstk.Reference(contact_16, (0.5625,10.0125)))
hierarchical_predecode3x.add(gdstk.Reference(contact_17, (0.5625,10.0125)))
hierarchical_predecode3x.add(gdstk.Reference(contact_16, (2.37,10.0125)))
hierarchical_predecode3x.add(gdstk.Reference(contact_17, (2.37,10.0125)))
hierarchical_predecode3x.add(gdstk.Reference(contact_16, (0.5625,11.6925)))
hierarchical_predecode3x.add(gdstk.Reference(contact_17, (0.5625,11.6925)))
hierarchical_predecode3x.add(gdstk.Reference(contact_16, (2.37,11.6925)))
hierarchical_predecode3x.add(gdstk.Reference(contact_17, (2.37,11.6925)))
hierarchical_predecode3x.add(gdstk.Reference(contact_16, (0.5625,10.0125)))
hierarchical_predecode3x.add(gdstk.Reference(contact_17, (0.5625,10.0125)))
hierarchical_predecode3x.add(gdstk.Reference(contact_16, (2.37,10.0125)))
hierarchical_predecode3x.add(gdstk.Reference(contact_17, (2.37,10.0125)))
hierarchical_predecode3x.add(gdstk.Reference(contact_16, (0.5625,11.6925)))
hierarchical_predecode3x.add(gdstk.Reference(contact_17, (0.5625,11.6925)))
hierarchical_predecode3x.add(gdstk.Reference(contact_16, (2.37,11.6925)))
hierarchical_predecode3x.add(gdstk.Reference(contact_17, (2.37,11.6925)))
hierarchical_predecode3x.add(gdstk.Reference(contact_16, (0.5625,13.3725)))
hierarchical_predecode3x.add(gdstk.Reference(contact_17, (0.5625,13.3725)))
hierarchical_predecode3x.add(gdstk.Reference(contact_16, (2.37,13.3725)))
hierarchical_predecode3x.add(gdstk.Reference(contact_17, (2.37,13.3725)))
hierarchical_predecode3x.add(gdstk.Label('in_0', (0.175,0.795), layer=13, texttype=0))
hierarchical_predecode3x.add(gdstk.Label('in_1', (0.315,2.565), layer=13, texttype=0))
hierarchical_predecode3x.add(gdstk.Label('in_2', (0.455,4.155), layer=13, texttype=0))
hierarchical_predecode3x.add(gdstk.Label('out_0', (4.1275,0.795), layer=11, texttype=0))
hierarchical_predecode3x.add(gdstk.Label('out_1', (4.1275,2.565), layer=11, texttype=0))
hierarchical_predecode3x.add(gdstk.Label('out_2', (4.1275,4.155), layer=11, texttype=0))
hierarchical_predecode3x.add(gdstk.Label('out_3', (4.1275,5.925), layer=11, texttype=0))
hierarchical_predecode3x.add(gdstk.Label('out_4', (4.1275,7.515), layer=11, texttype=0))
hierarchical_predecode3x.add(gdstk.Label('out_5', (4.1275,9.285), layer=11, texttype=0))
hierarchical_predecode3x.add(gdstk.Label('out_6', (4.1275,10.875), layer=11, texttype=0))
hierarchical_predecode3x.add(gdstk.Label('out_7', (4.1275,12.645), layer=11, texttype=0))
hierarchical_predecode3x.add(gdstk.Label('vdd', (0.63,11.76), layer=15, texttype=0))
hierarchical_predecode3x.add(gdstk.Label('vdd', (0.63,8.4), layer=15, texttype=0))
hierarchical_predecode3x.add(gdstk.Label('vdd', (0.63,8.4), layer=15, texttype=0))
hierarchical_predecode3x.add(gdstk.Label('vdd', (2.4375,11.76), layer=15, texttype=0))
hierarchical_predecode3x.add(gdstk.Label('vdd', (2.4375,1.68), layer=15, texttype=0))
hierarchical_predecode3x.add(gdstk.Label('vdd', (2.4375,8.4), layer=15, texttype=0))
hierarchical_predecode3x.add(gdstk.Label('vdd', (2.4375,8.4), layer=15, texttype=0))
hierarchical_predecode3x.add(gdstk.Label('vdd', (2.4375,5.04), layer=15, texttype=0))
hierarchical_predecode3x.add(gdstk.Label('vdd', (0.63,1.68), layer=15, texttype=0))
hierarchical_predecode3x.add(gdstk.Label('vdd', (0.63,5.04), layer=15, texttype=0))
hierarchical_predecode3x.add(gdstk.Label('vdd', (0.63,1.68), layer=15, texttype=0))
hierarchical_predecode3x.add(gdstk.Label('vdd', (0.63,5.04), layer=15, texttype=0))
hierarchical_predecode3x.add(gdstk.Label('vdd', (2.4375,5.04), layer=15, texttype=0))
hierarchical_predecode3x.add(gdstk.Label('vdd', (2.4375,1.68), layer=15, texttype=0))
hierarchical_predecode3x.add(gdstk.Label('gnd', (0.63,13.44), layer=15, texttype=0))
hierarchical_predecode3x.add(gdstk.Label('gnd', (2.4375,10.08), layer=15, texttype=0))
hierarchical_predecode3x.add(gdstk.Label('gnd', (2.4375,3.36), layer=15, texttype=0))
hierarchical_predecode3x.add(gdstk.Label('gnd', (2.4375,0), layer=15, texttype=0))
hierarchical_predecode3x.add(gdstk.Label('gnd', (0.63,3.36), layer=15, texttype=0))
hierarchical_predecode3x.add(gdstk.Label('gnd', (0.63,10.08), layer=15, texttype=0))
hierarchical_predecode3x.add(gdstk.Label('gnd', (0.63,0), layer=15, texttype=0))
hierarchical_predecode3x.add(gdstk.Label('gnd', (2.4375,6.72), layer=15, texttype=0))
hierarchical_predecode3x.add(gdstk.Label('gnd', (2.4375,13.44), layer=15, texttype=0))
hierarchical_predecode3x.add(gdstk.Label('gnd', (0.63,6.72), layer=15, texttype=0))

lib.write_gds('hierarchical_predecode3x8.gds')
